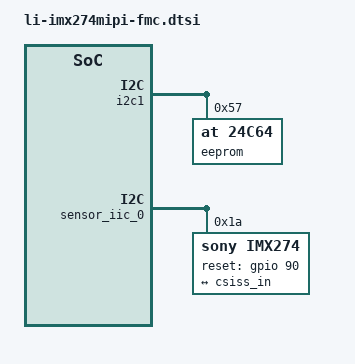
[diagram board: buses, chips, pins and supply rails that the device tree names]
&i2c1 {
	i2cswitch@75 {
		i2c@0 {
			eeprom@57 { /* HPC0_IIC */
				compatible = "at,24c64";
				reg = <0x57>;
			};
		};
	};
};

&sensor_iic_0 {
	imx274: sensor@1a{
		compatible = "sony,imx274";
		reg = <0x1a>;
		#address-cells = <1>;
		#size-cells = <0>;
		reset-gpios = <&gpio 90 0>;

		port@0 {
			reg = <0>;

			sensor_out: endpoint {
				remote-endpoint = <&csiss_in>;
			};
		};
	};
};
